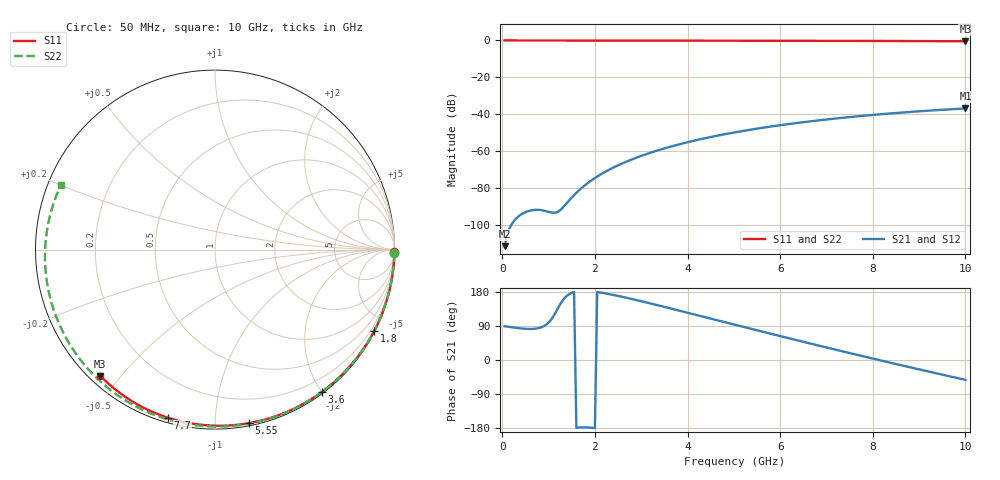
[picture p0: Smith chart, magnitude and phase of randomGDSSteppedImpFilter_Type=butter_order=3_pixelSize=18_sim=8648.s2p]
! freq	dB(S11)	phase(S11)	dB(S12)	phase(S12)
!  dB(S21)	phase(S21)	dB(S22)	phase(S22)
!S-par simulation data
#  GHz  S  DB  R 50
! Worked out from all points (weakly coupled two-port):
!   200 points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, 50 MHz to 10 GHz, reference 50 ohm
!   highest |S21| = -36.91 dB at 10 GHz (marker M1); lowest = -111.7 dB at 50 MHz (marker M2)
!   lowest |S11| = -0.4 dB at 10 GHz (marker M3), VSWR 39.29, Z = 1.52 - j22.1 ohm
!   |S11| at or under -10 dB: nowhere
!   |S22| runs from -0.6 to 0.0 dB; largest |S21 - S12| = 0
!   S11 on the Smith chart (normalised r, x): 50 MHz: open; 1.8 GHz: 0.04, -4.15; 3.6 GHz: 0.02, -2.01; 5.55 GHz: 0.02, -1.21; 7.7 GHz: 0.02, -0.76; 10 GHz: 0.03, -0.44
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0.05  -0.00 -0.8  -111.68 89.1  -111.68 89.1  -0.00 -1.2
0.45  -0.01 -6.8  -93.83 82.7  -93.83 82.7  -0.01 -10.5
0.85  -0.02 -12.9  -92.15 86.7  -92.15 86.7  -0.02 -19.7
1.25  -0.02 -18.9  -92.14 147.3  -92.14 147.3  -0.04 -28.9
1.7  -0.03 -25.6  -80.37 -177.8  -80.37 -177.8  -0.05 -39.0
1.75  -0.03 -26.3  -79.30 -177.6  -79.30 -177.6  -0.05 -40.1
1.8  -0.03 -27.1  -78.29 -177.7  -78.29 -177.7  -0.05 -41.2
2.1  -0.04 -31.5  -73.10 178.5  -73.10 178.5  -0.06 -47.9
2.45  -0.05 -36.6  -68.38 170.4  -68.38 170.4  -0.07 -55.5
2.9  -0.06 -43.1  -63.59 158.0  -63.59 158.0  -0.08 -65.1
3.4  -0.07 -50.1  -59.35 143.2  -59.35 143.2  -0.10 -75.5
3.6  -0.07 -52.9  -57.88 137.1  -57.88 137.1  -0.10 -79.6
4.3  -0.09 -62.6  -53.50 115.4  -53.50 115.4  -0.13 -93.6
5.05  -0.11 -72.6  -49.76 92.2  -49.76 92.2  -0.16 -108.1
5.55  -0.13 -79.1  -47.67 76.8  -47.67 76.8  -0.19 -117.5
6.1  -0.15 -86.1  -45.66 60.1  -45.66 60.1  -0.22 -127.8
6.7  -0.18 -93.5  -43.76 42.0  -43.76 42.0  -0.27 -138.8
7.2  -0.21 -99.6  -42.36 27.1  -42.36 27.1  -0.31 -148.0
7.7  -0.24 -105.6  -41.11 12.5  -41.11 12.5  -0.35 -157.3
8.35  -0.29 -113.3  -39.68 -6.3  -39.68 -6.3  -0.42 -169.6
9.2  -0.36 -123.1  -38.11 -30.3  -38.11 -30.3  -0.52 173.8
10  -0.44 -132.2  -36.91 -52.3  -36.91 -52.3  -0.62 157.2
